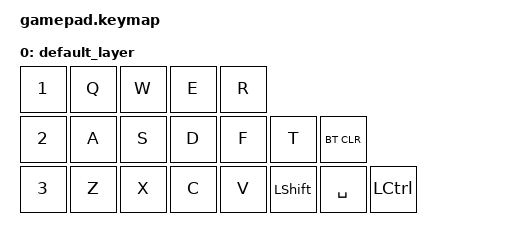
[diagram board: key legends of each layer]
#include <behaviors.dtsi>
#include <dt-bindings/zmk/bt.h>
#include <dt-bindings/zmk/keys.h>

/ {
    keymap {
        compatible = "zmk,keymap";

        default_layer {
            bindings = <

    &kp N1 &kp Q &kp W &kp E &kp R
    &kp N2 &kp A &kp S &kp D &kp F &kp T &bt BT_CLR	 
    &kp N3 &kp Z &kp X &kp C &kp V &kp LSHFT &kp SPACE &kp LCTRL

            >;
        };
    };
};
